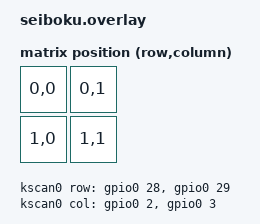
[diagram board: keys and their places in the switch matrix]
#include <dt-bindings/zmk/matrix_transform.h>
#include <zephyr/dt-bindings/input/input-event-codes.h>

/ {
    /* サブノード方式がエラーになったので、削除またはコメントアウト */
    
    kscan0: kscan0 {
        compatible = "zmk,kscan-gpio-matrix";
        diode-direction = "col2row";
        wakeup-source;

        col-gpios
            = <&gpio0 2 GPIO_ACTIVE_HIGH>  // D0
            , <&gpio0 3 GPIO_ACTIVE_HIGH>  // D1
            ;

        row-gpios
            = <&gpio0 28 (GPIO_ACTIVE_HIGH | GPIO_PULL_DOWN)>  // D2
            , <&gpio0 29 (GPIO_ACTIVE_HIGH | GPIO_PULL_DOWN)>  // D3
            ;
    };

    default_transform: keymap_transform0 {
        compatible = "zmk,matrix-transform";
        columns = <2>;
        rows = <2>;
        map = <
            RC(0,0) RC(0,1)
            RC(1,0) RC(1,1)
        >;
    };

    chosen {
        zmk,kscan = &kscan0;
        zmk,matrix-transform = &default_transform;
    };
};

&pinctrl {
    spi0_default: spi0_default {
        group1 {
            psels = <NRF_PSEL(SPIM_SCK, 0, 5)>,
                    <NRF_PSEL(SPIM_MOSI, 0, 4)>,
                    <NRF_PSEL(SPIM_MISO, 0, 4)>;
        };
    };

    spi0_sleep: spi0_sleep {
        group1 {
            psels = <NRF_PSEL(SPIM_SCK, 0, 5)>,
                    <NRF_PSEL(SPIM_MOSI, 0, 4)>,
                    <NRF_PSEL(SPIM_MISO, 0, 4)>;
            low-power-enable;
        };
    };
};

&spi0 {
    status = "okay";
    compatible = "nordic,nrf-spim";
    pinctrl-0 = <&spi0_default>;
    pinctrl-1 = <&spi0_sleep>;
    pinctrl-names = "default", "sleep";
    cs-gpios = <&gpio1 12 GPIO_ACTIVE_LOW>; // D7

    trackball: trackball@0 {
        status = "okay";
        compatible = "pixart,pmw3610";
        reg = <0>;
        spi-max-frequency = <2000000>;
        motion-gpios = <&gpio1 15 (GPIO_ACTIVE_LOW | GPIO_PULL_UP)>; // D10
        
        /* 修正：エラーの指示通り、数値(INPUT_REL_X/Y)を直接入れます */
        zephyr,axis-x = <INPUT_REL_X>;
        zephyr,axis-y = <INPUT_REL_Y>;
        
        res-cpi = <600>;
        invert-x;
        /* invert-y; も必要ならここに追加 */
    };
};

/ {
    trackball_listener {
        compatible = "zmk,input-listener";
        device = <&trackball>;
    };
};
